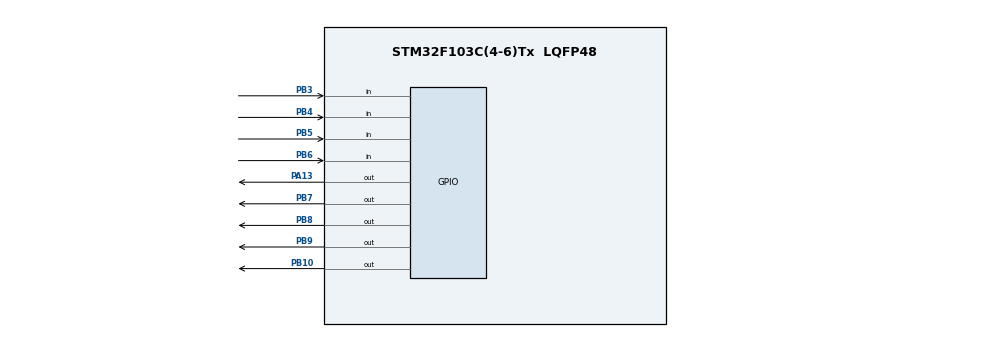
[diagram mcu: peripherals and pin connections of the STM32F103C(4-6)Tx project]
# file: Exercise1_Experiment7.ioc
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Mcu.Family=STM32F1
Mcu.Name=STM32F103C(4-6)Tx
Mcu.Package=LQFP48
NVIC.PriorityGroup=NVIC_PRIORITYGROUP_4
NVIC.TIM2_IRQn=true\:0\:0\:false\:false\:true\:true\:true\:true
PA13.GPIO_PuPd=GPIO_NOPULL
PA13.Signal=GPIO_Output
PB10.PinState=GPIO_PIN_SET
PB10.Signal=GPIO_Output
PB3.GPIO_Mode=GPIO_MODE_INPUT
PB3.GPIO_PuPd=GPIO_PULLUP
PB3.Signal=GPIO_Input
PB4.GPIO_PuPd=GPIO_PULLUP
PB4.Signal=GPIO_Input
PB5.GPIO_PuPd=GPIO_PULLUP
PB5.Signal=GPIO_Input
PB6.GPIO_PuPd=GPIO_PULLUP
PB6.Signal=GPIO_Input
PB7.PinState=GPIO_PIN_SET
PB7.Signal=GPIO_Output
PB8.PinState=GPIO_PIN_SET
PB8.Signal=GPIO_Output
PB9.PinState=GPIO_PIN_SET
PB9.Signal=GPIO_Output
ProjectManager.HeapSize=0x200
ProjectManager.StackSize=0x400
ProjectManager.TargetToolchain=STM32CubeIDE
RCC.APB1Freq_Value=8000000
RCC.APB2Freq_Value=8000000
TIM2.AutoReloadPreload=TIM_AUTORELOAD_PRELOAD_ENABLE
TIM2.Prescaler=8-1
VP_TIM2_VS_ClockSourceINT.Mode=Internal
board=custom

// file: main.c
/* USER CODE BEGIN Header */
/**
  ******************************************************************************
  * @file           : main.c
  * @brief          : Main program body
  ******************************************************************************
  * @attention
  *
  * Copyright (c) 2023 STMicroelectronics.
  * All rights reserved.
  *
  * This software is licensed under terms that can be found in the LICENSE file
  * in the root directory of this software component.
  * If no LICENSE file comes with this software, it is provided AS-IS.
  *
  ******************************************************************************
  */
/* USER CODE END Header */
#include "main.h"

TIM_HandleTypeDef htim2;

void SystemClock_Config(void);
static void MX_GPIO_Init(void);
static void MX_TIM2_Init(void);

/* USER CODE BEGIN 0 */
int ind=0;
int c=300;
int c2=5;
int array[4]={0,0,0,0};
/* USER CODE END 0 */

int main(void)
{

  /* MCU Configuration--------------------------------------------------------*/

  /* Reset of all peripherals, Initializes the Flash interface and the Systick. */
  HAL_Init();

  /* Configure the system clock */
  SystemClock_Config();

  /* Initialize all configured peripherals */
  MX_GPIO_Init();
  MX_TIM2_Init();

  /* Infinite loop */
  while (1)
  {

    /* USER CODE BEGIN 3 */

	    HAL_GPIO_WritePin(GPIOB, GPIO_PIN_10, GPIO_PIN_RESET);

		 	 HAL_Delay(c);
		 	  if(HAL_GPIO_ReadPin(GPIOB, GPIO_PIN_3)==0){
		 		  HAL_GPIO_WritePin(GPIOB, GPIO_PIN_10, GPIO_PIN_SET);
		 		  while(ind<4){

		 			  HAL_GPIO_WritePin(GPIOB, GPIO_PIN_7, GPIO_PIN_RESET);
		 			 HAL_Delay(c2);
		 			  if(HAL_GPIO_ReadPin(GPIOB, GPIO_PIN_3)==0){
		 				  array[ind]=7;
		 				  ind++;
		 				 HAL_Delay(c);
		 			  }
		 			  if(HAL_GPIO_ReadPin(GPIOB, GPIO_PIN_4)==0){
		 				 array[ind]=4;
		 				  ind++;
		 				 HAL_Delay(c);
		 			  }
		 			  if(HAL_GPIO_ReadPin(GPIOB, GPIO_PIN_5)==0){
		 				 array[ind]=1;
		 				  ind++;
		 				 HAL_Delay(c);
		 			  }
		 			  HAL_GPIO_WritePin(GPIOB, GPIO_PIN_7, GPIO_PIN_SET);

		 			  HAL_GPIO_WritePin(GPIOB, GPIO_PIN_8, GPIO_PIN_RESET);
		 			 HAL_Delay(c2);
		 			  if(HAL_GPIO_ReadPin(GPIOB, GPIO_PIN_3)==0){
		 				 array[ind]=8;
		 				  ind++;
		 				 HAL_Delay(c);
		 			  }
		 			  if(HAL_GPIO_ReadPin(GPIOB, GPIO_PIN_4)==0){
		 				 array[ind]=5;
		 				  ind++;
		 				 HAL_Delay(c);
		 			  }
		 			  if(HAL_GPIO_ReadPin(GPIOB, GPIO_PIN_5)==0){
		 				 array[ind]=2;
		 				  ind++;
		 			  }
		 			  if(HAL_GPIO_ReadPin(GPIOB, GPIO_PIN_6)==0){
		 				 array[ind]=0;
		 				  ind++;
		 				 HAL_Delay(c);
		 			  }
		 			  HAL_GPIO_WritePin(GPIOB, GPIO_PIN_8, GPIO_PIN_SET);

		 			  HAL_GPIO_WritePin(GPIOB, GPIO_PIN_9, GPIO_PIN_RESET);
		 			 HAL_Delay(c2);
		 			  if(HAL_GPIO_ReadPin(GPIOB, GPIO_PIN_3)==0){
		 				 array[ind]=9;
		 				  ind++;
		 				 HAL_Delay(c);
		 			  }
		 			  if(HAL_GPIO_ReadPin(GPIOB, GPIO_PIN_4)==0){
		 				 array[ind]=6;
		 				  ind++;
		 				 HAL_Delay(c);
		 			  }
		 			  if(HAL_GPIO_ReadPin(GPIOB, GPIO_PIN_5)==0){
		 				 array[ind]=3;
		 				  ind++;
		 				 HAL_Delay(c);
		 			  }
		 			  HAL_GPIO_WritePin(GPIOB, GPIO_PIN_9, GPIO_PIN_SET);
		 		  }
		 	  }
		 //htim2.Init.Period=(array[0]+(array[1]*10)+(array[2]*100)+(array[3]*1000));
		 	  __HAL_TIM_SET_AUTORELOAD(&htim2,(array[0]+(array[1]*10)+(array[2]*100)+(array[3]*1000)));
	 	 HAL_TIM_Base_Start_IT(&htim2);

  }
  /* USER CODE END 3 */
}

void SystemClock_Config(void)
{
  RCC_OscInitTypeDef RCC_OscInitStruct = {0};
  RCC_ClkInitTypeDef RCC_ClkInitStruct = {0};

  /** Initializes the RCC Oscillators according to the specified parameters
  * in the RCC_OscInitTypeDef structure.
  */
  RCC_OscInitStruct.OscillatorType = RCC_OSCILLATORTYPE_HSI;
  RCC_OscInitStruct.HSIState = RCC_HSI_ON;
  RCC_OscInitStruct.HSICalibrationValue = RCC_HSICALIBRATION_DEFAULT;
  RCC_OscInitStruct.PLL.PLLState = RCC_PLL_NONE;
  if (HAL_RCC_OscConfig(&RCC_OscInitStruct) != HAL_OK)
  {
    Error_Handler();
  }

  /** Initializes the CPU, AHB and APB buses clocks
  */
  RCC_ClkInitStruct.ClockType = RCC_CLOCKTYPE_HCLK|RCC_CLOCKTYPE_SYSCLK
                              |RCC_CLOCKTYPE_PCLK1|RCC_CLOCKTYPE_PCLK2;
  RCC_ClkInitStruct.SYSCLKSource = RCC_SYSCLKSOURCE_HSI;
  RCC_ClkInitStruct.AHBCLKDivider = RCC_SYSCLK_DIV1;
  RCC_ClkInitStruct.APB1CLKDivider = RCC_HCLK_DIV1;
  RCC_ClkInitStruct.APB2CLKDivider = RCC_HCLK_DIV1;

  if (HAL_RCC_ClockConfig(&RCC_ClkInitStruct, FLASH_LATENCY_0) != HAL_OK)
  {
    Error_Handler();
  }
}

static void MX_TIM2_Init(void)
{

  TIM_ClockConfigTypeDef sClockSourceConfig = {0};
  TIM_MasterConfigTypeDef sMasterConfig = {0};

  htim2.Instance = TIM2;
  htim2.Init.Prescaler = 8-1;
  htim2.Init.CounterMode = TIM_COUNTERMODE_UP;
  htim2.Init.Period = 65535;
  htim2.Init.ClockDivision = TIM_CLOCKDIVISION_DIV1;
  htim2.Init.AutoReloadPreload = TIM_AUTORELOAD_PRELOAD_ENABLE;
  if (HAL_TIM_Base_Init(&htim2) != HAL_OK)
  {
    Error_Handler();
  }
  sClockSourceConfig.ClockSource = TIM_CLOCKSOURCE_INTERNAL;
  if (HAL_TIM_ConfigClockSource(&htim2, &sClockSourceConfig) != HAL_OK)
  {
    Error_Handler();
  }
  sMasterConfig.MasterOutputTrigger = TIM_TRGO_RESET;
  sMasterConfig.MasterSlaveMode = TIM_MASTERSLAVEMODE_DISABLE;
  if (HAL_TIMEx_MasterConfigSynchronization(&htim2, &sMasterConfig) != HAL_OK)
  {
    Error_Handler();
  }

}

static void MX_GPIO_Init(void)
{
  GPIO_InitTypeDef GPIO_InitStruct = {0};

  /* GPIO Ports Clock Enable */
  __HAL_RCC_GPIOB_CLK_ENABLE();
  __HAL_RCC_GPIOA_CLK_ENABLE();

  /*Configure GPIO pin Output Level */
  HAL_GPIO_WritePin(GPIOB, GPIO_PIN_10|GPIO_PIN_7|GPIO_PIN_8|GPIO_PIN_9, GPIO_PIN_SET);

  /*Configure GPIO pin Output Level */
  HAL_GPIO_WritePin(GPIOA, GPIO_PIN_13, GPIO_PIN_RESET);

  /*Configure GPIO pins : PB10 PB7 PB8 PB9 */
  GPIO_InitStruct.Pin = GPIO_PIN_10|GPIO_PIN_7|GPIO_PIN_8|GPIO_PIN_9;
  GPIO_InitStruct.Mode = GPIO_MODE_OUTPUT_PP;
  GPIO_InitStruct.Pull = GPIO_NOPULL;
  GPIO_InitStruct.Speed = GPIO_SPEED_FREQ_LOW;
  HAL_GPIO_Init(GPIOB, &GPIO_InitStruct);

  /*Configure GPIO pin : PA13 */
  GPIO_InitStruct.Pin = GPIO_PIN_13;
  GPIO_InitStruct.Mode = GPIO_MODE_OUTPUT_PP;
  GPIO_InitStruct.Pull = GPIO_NOPULL;
  GPIO_InitStruct.Speed = GPIO_SPEED_FREQ_LOW;
  HAL_GPIO_Init(GPIOA, &GPIO_InitStruct);

  /*Configure GPIO pins : PB3 PB4 PB5 PB6 */
  GPIO_InitStruct.Pin = GPIO_PIN_3|GPIO_PIN_4|GPIO_PIN_5|GPIO_PIN_6;
  GPIO_InitStruct.Mode = GPIO_MODE_INPUT;
  GPIO_InitStruct.Pull = GPIO_PULLUP;
  HAL_GPIO_Init(GPIOB, &GPIO_InitStruct);

}

/* USER CODE BEGIN 4 */
void HAL_TIM_PeriodElapsedCallback(TIM_HandleTypeDef *htim){
	HAL_GPIO_TogglePin(GPIOA, GPIO_PIN_13);
}
/* USER CODE END 4 */

void Error_Handler(void)
{
  __disable_irq();
  while (1)
  {
  }
}
